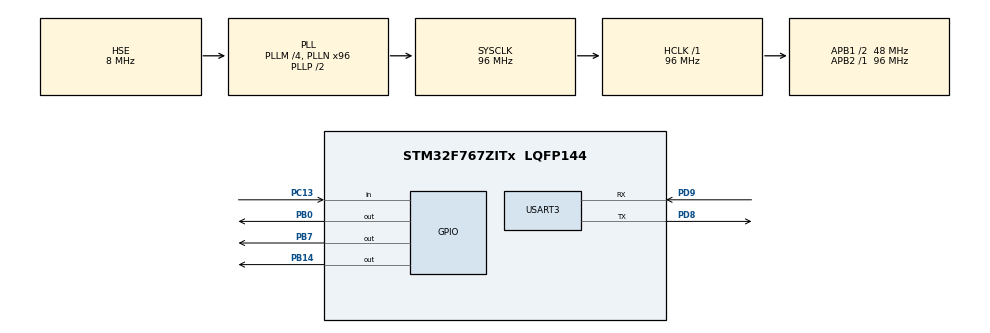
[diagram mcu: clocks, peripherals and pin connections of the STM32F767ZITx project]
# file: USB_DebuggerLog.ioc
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Dma.Request0=USART3_RX
Dma.USART3_RX.0.Direction=DMA_PERIPH_TO_MEMORY
Dma.USART3_RX.0.FIFOMode=DMA_FIFOMODE_DISABLE
Dma.USART3_RX.0.Instance=DMA1_Stream1
Dma.USART3_RX.0.MemDataAlignment=DMA_MDATAALIGN_BYTE
Dma.USART3_RX.0.MemInc=DMA_MINC_ENABLE
Dma.USART3_RX.0.Mode=DMA_CIRCULAR
Dma.USART3_RX.0.PeriphDataAlignment=DMA_PDATAALIGN_BYTE
Dma.USART3_RX.0.PeriphInc=DMA_PINC_DISABLE
Dma.USART3_RX.0.Priority=DMA_PRIORITY_LOW
Mcu.Family=STM32F7
Mcu.Name=STM32F767ZITx
Mcu.Package=LQFP144
NVIC.DMA1_Stream1_IRQn=true\:0\:0\:false\:false\:true\:false\:true
NVIC.PriorityGroup=NVIC_PRIORITYGROUP_4
NVIC.USART3_IRQn=true\:0\:0\:false\:false\:true\:true\:true
PB0.Signal=GPIO_Output
PB14.Signal=GPIO_Output
PB7.Signal=GPIO_Output
PC13.GPIO_PuPd=GPIO_PULLDOWN
PC13.Signal=GPIO_Input
PD8.Mode=Asynchronous
PD8.Signal=USART3_TX
PD9.Mode=Asynchronous
PD9.Signal=USART3_RX
PH0/OSC_IN.Mode=HSE-External-Oscillator
PH0/OSC_IN.Signal=RCC_OSC_IN
PH1/OSC_OUT.Mode=HSE-External-Oscillator
PH1/OSC_OUT.Signal=RCC_OSC_OUT
ProjectManager.HeapSize=0x200
ProjectManager.StackSize=0x400
ProjectManager.TargetToolchain=STM32CubeIDE
RCC.AHBFreq_Value=96000000
RCC.APB1CLKDivider=RCC_HCLK_DIV2
RCC.APB1Freq_Value=48000000
RCC.APB1TimFreq_Value=96000000
RCC.APB2Freq_Value=96000000
RCC.APB2TimFreq_Value=96000000
RCC.CortexFreq_Value=96000000
RCC.HCLKFreq_Value=96000000
RCC.HSE_VALUE=8000000
RCC.HSI_VALUE=16000000
RCC.LSE_VALUE=32768
RCC.PLLM=4
RCC.PLLN=96
RCC.PLLSourceVirtual=RCC_PLLSOURCE_HSE
RCC.SYSCLKFreq_VALUE=96000000
RCC.SYSCLKSource=RCC_SYSCLKSOURCE_PLLCLK
RCC.USBFreq_Value=96000000
RCC.VCOOutputFreq_Value=192000000
USART3.VirtualMode-Asynchronous=VM_ASYNC
board=custom

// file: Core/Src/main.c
/* USER CODE BEGIN Header */
/**
  ******************************************************************************
  * @file           : main.c
  * @brief          : Main program body
  ******************************************************************************
  * @attention
  *
  * <h2><center>&copy; Copyright (c) 2020 STMicroelectronics.
  * All rights reserved.</center></h2>
  *
  * This software component is licensed by ST under BSD 3-Clause license,
  * the "License"; You may not use this file except in compliance with the
  * License. You may obtain a copy of the License at:
  *                        opensource.org/licenses/BSD-3-Clause
  *
  ******************************************************************************
  */
/* USER CODE END Header */

#include "main.h"

UART_HandleTypeDef huart3;
DMA_HandleTypeDef hdma_usart3_rx;

/* USER CODE BEGIN PV */
uint8_t output[13] = "Hello World\r\n";
uint8_t input[1];
/* USER CODE END PV */

void SystemClock_Config(void);
static void MX_GPIO_Init(void);
static void MX_DMA_Init(void);
static void MX_USART3_UART_Init(void);
/* USER CODE BEGIN PFP */
void MultiLed(int r, int b, int g);
/* USER CODE END PFP */

int main(void)
{

  /* MCU Configuration--------------------------------------------------------*/

  /* Reset of all peripherals, Initializes the Flash interface and the Systick. */
  HAL_Init();

  /* Configure the system clock */
  SystemClock_Config();

  /* Initialize all configured peripherals */
  MX_GPIO_Init();
  MX_DMA_Init();
  MX_USART3_UART_Init();
  /* USER CODE BEGIN 2 */

  HAL_UART_Receive_DMA(&huart3,input,1);
  /* USER CODE END 2 */

  /* Infinite loop */
  /* USER CODE BEGIN WHILE */
  while (1)
  {
	 //---------Send message if BTN is pressed
	  if(HAL_GPIO_ReadPin(GPIOC,GPIO_PIN_13) == 1){
		 HAL_UART_Transmit(&huart3,output,13,10);
		 HAL_Delay(1000);
	 }
	  //-------------------------------------

	  //------------Light up LE1[Green] if you send 10, off when something else
	  if(input[0] == 10){
		  HAL_GPIO_WritePin(GPIOB,GPIO_PIN_0,1);
	  }else{
		  HAL_GPIO_WritePin(GPIOB,GPIO_PIN_0,0);
	  }
	  //----------------------------------------

	  //-----Light up all 3 lends independently in one command

	 switch (input[0]){
	 	 case 0: //000b
	 		 MultiLed(0,0,0);
		 break;
	 	case 1: //001b

	 		MultiLed(0,0,1);
		 break;
	 	case 2: //010b

			MultiLed(0,1,0);
		 break;
		case 4: //100b

			MultiLed(1,0,0);
		 break;
		case 3: //011b

			MultiLed(0,1,1);
		 break;
		case 6: //110b

			MultiLed(1,1,0);
		 break;
		case 5: //101b

			MultiLed(1,0,1);
		 break;
		case 7: //111b

			MultiLed(1,1,1);
		 break;

		 //------------------------------------------------
	 }

    /* USER CODE END WHILE */

  }
}

void SystemClock_Config(void)
{
  RCC_OscInitTypeDef RCC_OscInitStruct = {0};
  RCC_ClkInitTypeDef RCC_ClkInitStruct = {0};
  RCC_PeriphCLKInitTypeDef PeriphClkInitStruct = {0};

  /** Configure the main internal regulator output voltage
  */
  __HAL_RCC_PWR_CLK_ENABLE();
  __HAL_PWR_VOLTAGESCALING_CONFIG(PWR_REGULATOR_VOLTAGE_SCALE3);
  /** Initializes the CPU, AHB and APB busses clocks
  */
  RCC_OscInitStruct.OscillatorType = RCC_OSCILLATORTYPE_HSE;
  RCC_OscInitStruct.HSEState = RCC_HSE_ON;
  RCC_OscInitStruct.PLL.PLLState = RCC_PLL_ON;
  RCC_OscInitStruct.PLL.PLLSource = RCC_PLLSOURCE_HSE;
  RCC_OscInitStruct.PLL.PLLM = 4;
  RCC_OscInitStruct.PLL.PLLN = 96;
  RCC_OscInitStruct.PLL.PLLP = RCC_PLLP_DIV2;
  RCC_OscInitStruct.PLL.PLLQ = 2;
  if (HAL_RCC_OscConfig(&RCC_OscInitStruct) != HAL_OK)
  {
    Error_Handler();
  }
  /** Activate the Over-Drive mode
  */
  if (HAL_PWREx_EnableOverDrive() != HAL_OK)
  {
    Error_Handler();
  }
  /** Initializes the CPU, AHB and APB busses clocks
  */
  RCC_ClkInitStruct.ClockType = RCC_CLOCKTYPE_HCLK|RCC_CLOCKTYPE_SYSCLK
                              |RCC_CLOCKTYPE_PCLK1|RCC_CLOCKTYPE_PCLK2;
  RCC_ClkInitStruct.SYSCLKSource = RCC_SYSCLKSOURCE_PLLCLK;
  RCC_ClkInitStruct.AHBCLKDivider = RCC_SYSCLK_DIV1;
  RCC_ClkInitStruct.APB1CLKDivider = RCC_HCLK_DIV2;
  RCC_ClkInitStruct.APB2CLKDivider = RCC_HCLK_DIV1;

  if (HAL_RCC_ClockConfig(&RCC_ClkInitStruct, FLASH_LATENCY_3) != HAL_OK)
  {
    Error_Handler();
  }
  PeriphClkInitStruct.PeriphClockSelection = RCC_PERIPHCLK_USART3;
  PeriphClkInitStruct.Usart3ClockSelection = RCC_USART3CLKSOURCE_PCLK1;
  if (HAL_RCCEx_PeriphCLKConfig(&PeriphClkInitStruct) != HAL_OK)
  {
    Error_Handler();
  }
}

static void MX_USART3_UART_Init(void)
{

  huart3.Instance = USART3;
  huart3.Init.BaudRate = 115200;
  huart3.Init.WordLength = UART_WORDLENGTH_8B;
  huart3.Init.StopBits = UART_STOPBITS_1;
  huart3.Init.Parity = UART_PARITY_NONE;
  huart3.Init.Mode = UART_MODE_TX_RX;
  huart3.Init.HwFlowCtl = UART_HWCONTROL_NONE;
  huart3.Init.OverSampling = UART_OVERSAMPLING_16;
  huart3.Init.OneBitSampling = UART_ONE_BIT_SAMPLE_DISABLE;
  huart3.AdvancedInit.AdvFeatureInit = UART_ADVFEATURE_NO_INIT;
  if (HAL_UART_Init(&huart3) != HAL_OK)
  {
    Error_Handler();
  }

}

static void MX_DMA_Init(void)
{

  /* DMA controller clock enable */
  __HAL_RCC_DMA1_CLK_ENABLE();

  /* DMA interrupt init */
  /* DMA1_Stream1_IRQn interrupt configuration */
  HAL_NVIC_SetPriority(DMA1_Stream1_IRQn, 0, 0);
  HAL_NVIC_EnableIRQ(DMA1_Stream1_IRQn);

}

static void MX_GPIO_Init(void)
{
  GPIO_InitTypeDef GPIO_InitStruct = {0};

  /* GPIO Ports Clock Enable */
  __HAL_RCC_GPIOC_CLK_ENABLE();
  __HAL_RCC_GPIOH_CLK_ENABLE();
  __HAL_RCC_GPIOB_CLK_ENABLE();
  __HAL_RCC_GPIOD_CLK_ENABLE();

  /*Configure GPIO pin Output Level */
  HAL_GPIO_WritePin(GPIOB, GPIO_PIN_0|GPIO_PIN_14|GPIO_PIN_7, GPIO_PIN_RESET);

  /*Configure GPIO pin : PC13 */
  GPIO_InitStruct.Pin = GPIO_PIN_13;
  GPIO_InitStruct.Mode = GPIO_MODE_INPUT;
  GPIO_InitStruct.Pull = GPIO_PULLDOWN;
  HAL_GPIO_Init(GPIOC, &GPIO_InitStruct);

  /*Configure GPIO pins : PB0 PB14 PB7 */
  GPIO_InitStruct.Pin = GPIO_PIN_0|GPIO_PIN_14|GPIO_PIN_7;
  GPIO_InitStruct.Mode = GPIO_MODE_OUTPUT_PP;
  GPIO_InitStruct.Pull = GPIO_NOPULL;
  GPIO_InitStruct.Speed = GPIO_SPEED_FREQ_LOW;
  HAL_GPIO_Init(GPIOB, &GPIO_InitStruct);

}

/* USER CODE BEGIN 4 */
void HAL_UART_RxCpltCallback(UART_HandleTypeDef *huart)
{
  /* Prevent unused argument(s) compilation warning */
  UNUSED(huart);

  /* NOTE : This function should not be modified, when the callback is needed,
            the HAL_UART_RxCpltCallback can be implemented in the user file.
   */
}

void MultiLed(int r, int b, int g){
	HAL_GPIO_WritePin(GPIOB,GPIO_PIN_14,r);
	HAL_GPIO_WritePin(GPIOB,GPIO_PIN_7,b);
	HAL_GPIO_WritePin(GPIOB,GPIO_PIN_0,g);
	HAL_Delay(100);
}

/* USER CODE END 4 */

void Error_Handler(void)
{
}

/************************ (C) COPYRIGHT STMicroelectronics *****END OF FILE****/
